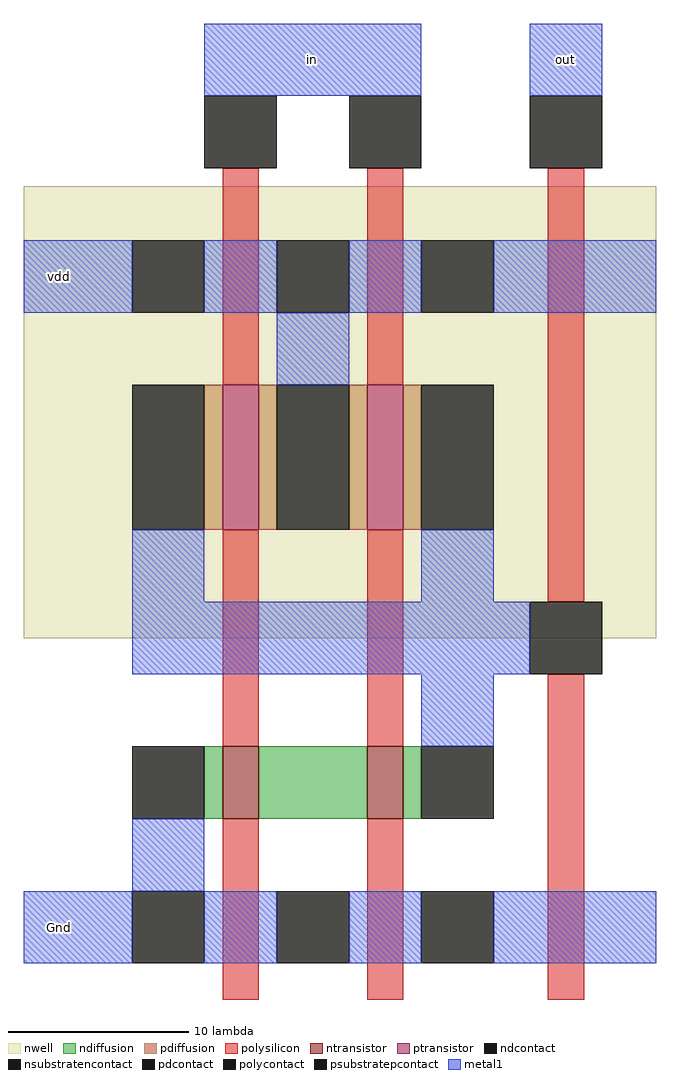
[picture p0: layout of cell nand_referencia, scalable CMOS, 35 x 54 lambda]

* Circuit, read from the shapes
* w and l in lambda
.subckt nand_referencia Gnd in out vdd
M1 n1 in Gnd Gnd nfet w=4 l=2
M2 out in n1 Gnd nfet w=4 l=2
M3 vdd in out vdd pfet w=8 l=2 m=2
.ends

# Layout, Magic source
magic
tech scmos
<< nwell >>
rect -14 1 21 26
<< ntransistor >>
rect -3 -9 -1 -5
rect 5 -9 7 -5
<< ptransistor >>
rect -3 7 -1 15
rect 5 7 7 15
<< ndiffusion >>
rect -4 -9 -3 -5
rect -1 -9 5 -5
rect 7 -9 8 -5
<< pdiffusion >>
rect -4 7 -3 15
rect -1 7 0 15
rect 4 7 5 15
rect 7 7 8 15
<< ndcontact >>
rect -8 -9 -4 -5
rect 8 -9 12 -5
<< pdcontact >>
rect -8 7 -4 15
rect 0 7 4 15
rect 8 7 12 15
<< psubstratepcontact >>
rect -8 -17 -4 -13
rect 0 -17 4 -13
rect 8 -17 12 -13
<< nsubstratencontact >>
rect -8 19 -4 23
rect 0 19 4 23
rect 8 19 12 23
<< polysilicon >>
rect -3 15 -1 27
rect 5 15 7 27
rect -3 -5 -1 7
rect 5 -5 7 7
rect 15 3 17 27
rect -3 -19 -1 -9
rect 5 -19 7 -9
rect 15 -19 17 -1
<< polycontact >>
rect -4 27 0 31
rect 4 27 8 31
rect 14 27 18 31
rect 14 -1 18 3
<< metal1 >>
rect -4 31 8 35
rect 14 31 18 35
rect -14 19 -8 23
rect -4 19 0 23
rect 4 19 8 23
rect 12 19 21 23
rect 0 15 4 19
rect -8 3 -4 7
rect 8 3 12 7
rect -8 -1 14 3
rect 8 -5 12 -1
rect -8 -13 -4 -9
rect -14 -17 -8 -13
rect -4 -17 0 -13
rect 4 -17 8 -13
rect 12 -17 21 -13
<< labels >>
rlabel metal1 -14 -17 -10 -13 2 Gnd
rlabel metal1 14 31 18 35 6 out
rlabel metal1 0 31 4 35 5 in
rlabel metal1 -14 19 -10 23 3 vdd
<< end >>
